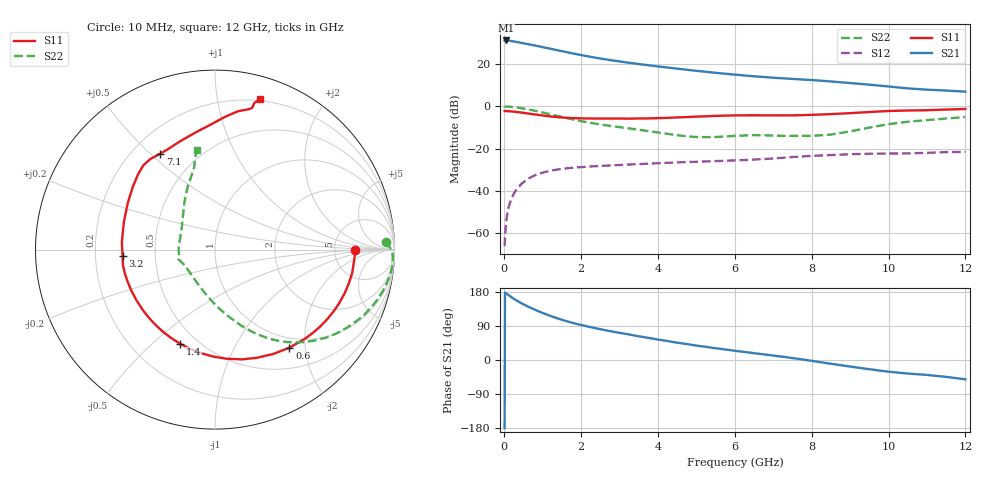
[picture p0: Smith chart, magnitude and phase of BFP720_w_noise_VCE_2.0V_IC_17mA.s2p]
! Infineon Technologies  Discrete & RF Semiconductors
! BFP720
! VCE =  2.0 V,  IC =  17 mA
! Common Emitter S-Parameters:  Aug 2012
# GHz  S  MA  R  50
!  f  S11  S21  S12  S22
! GHz  MAG  ANG  MAG  ANG  MAG  ANG  MAG  ANG
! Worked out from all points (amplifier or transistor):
!   105 points, 10 MHz to 12 GHz, reference 50 ohm
!   highest |S21| = 31.2 dB at 50 MHz (marker M1)
!   |S21| within 3 dB of that: start of sweep to 959 MHz
!   unconditionally stable (mu >= 1): start of sweep to 13.3 MHz; 4.621 GHz to 11.1 GHz
!   at 300 MHz: K = 0.13, MSG = 35.2 dB, |S12| = -39.7 dB
!   at 3.6 GHz: K = 0.86, MSG = 23.5 dB, |S12| = -27.2 dB
!   at 12 GHz: K = 0.79, MSG = 14.2 dB, |S12| = -21.5 dB
!   lowest NFmin = 0.67 dB at 450 MHz
!   S11 on the Smith chart (normalised r, x): 10 MHz: 8.07, -0.06; 600 MHz: 0.83, -1.70; 1.4 GHz: 0.40, -0.62; 3.2 GHz: 0.32, -0.03; 7.1 GHz: 0.31, +0.54; 12 GHz: 0.19, +1.32
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0.01  0.7794 -0.1  35.77 -179.9  0.0005 10.6  0.9551 2.6
0.02  0.7804 -1.7  36.06 178.1  0.0008 105.6  0.987 -0.5
0.05  0.7774 -4.6  36.31 175.9  0.0018 85.5  0.9916 -2.3
0.15  0.7693 -14.1  35.61 168.4  0.0053 82.5  0.9853 -8.3
0.3  0.7451 -27.5  33.77 158.3  0.0103 76.3  0.9513 -16.2
0.45  0.7162 -40.3  31.79 149.7  0.0148 70.2  0.9082 -23.5
0.6  0.686 -52.8  29.94 142.0  0.0189 64.5  0.8584 -30.1
0.8  0.6465 -68.8  27.55 132.6  0.0236 57.8  0.7911 -38.2
0.9  0.6295 -76.3  26.39 128.3  0.0255 54.8  0.756 -41.9
1.1  0.5964 -90.8  24.17 120.2  0.0289 49.3  0.6873 -48.8
1.4  0.5595 -110.3  21.16 109.5  0.0325 42.8  0.5936 -57.5
1.7  0.5359 -126.9  18.58 100.2  0.0351 38.0  0.5138 -64.6
2.1  0.5215 -143.7  15.78 90.1  0.0374 33.4  0.4342 -72.3
2.6  0.5183 -159.7  13.15 79.2  0.0398 29.8  0.3648 -80.4
3.2  0.5163 -176.2  10.94 68.3  0.0423 26.8  0.3073 -89.5
4.1  0.5333 160.6  8.631 52.4  0.046 23.5  0.2357 -107.1
5  0.5761 142.7  6.965 38.0  0.0494 20.6  0.1902 -136.4
6.1  0.6167 129.4  5.555 23.1  0.0536 18.4  0.2038 -162.0
7.1  0.6157 119.7  4.717 10.4  0.06 17.2  0.2039 -168.9
8.5  0.6605 99.7  3.898 -10.0  0.0712 9.1  0.2164 149.5
10.5  0.803 76.7  2.675 -35.7  0.0779 -3.9  0.4359 107.3
12  0.8727 73.4  2.237 -51.0  0.0844 -12.7  0.5616 100.3
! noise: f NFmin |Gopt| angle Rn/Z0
0.45  0.67  0.19  1  0.39
1.8  0.74  0.2  11  0.14
2.4  0.79  0.19  17  0.43
5.5  1.01  0.11  -46  0.18
10  1.18  0.45  -73  0.29
